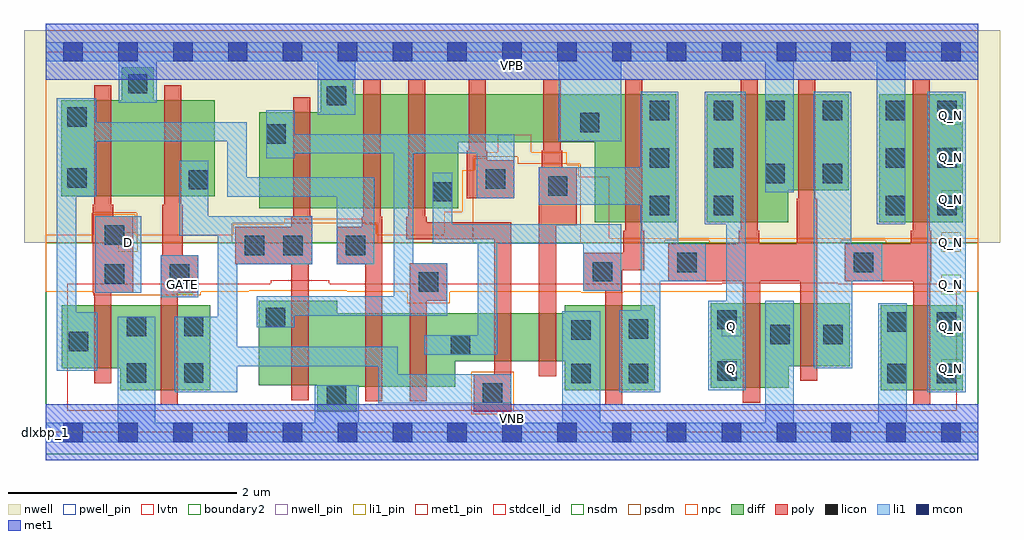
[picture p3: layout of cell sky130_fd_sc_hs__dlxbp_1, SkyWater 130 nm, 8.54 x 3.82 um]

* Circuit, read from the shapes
.subckt sky130_fd_sc_hs__dlxbp_1 D GATE Q Q_N VGND VNB VPB VPWR
XM1 VGND D n1 VNB sky130_fd_pr__nfet_01v8_lvt w=0.55 l=0.15
XM2 n2 GATE VGND VNB sky130_fd_pr__nfet_01v8_lvt w=0.74 l=0.15
XM3 VGND n2 n3 VNB sky130_fd_pr__nfet_01v8_lvt w=0.74 l=0.15
XM4 n4 n1 VGND VNB sky130_fd_pr__nfet_01v8_lvt w=0.64 l=0.15
XM5 n5 n3 n4 VNB sky130_fd_pr__nfet_01v8_lvt w=0.64 l=0.15
XM6 n6 n2 n5 VNB sky130_fd_pr__nfet_01v8_lvt w=0.42 l=0.15
XM7 VGND n7 n6 VNB sky130_fd_pr__nfet_01v8_lvt w=0.42 l=0.15
XM8 n7 n5 VGND VNB sky130_fd_pr__nfet_01v8_lvt w=0.74 l=0.15
XM9 VGND n7 Q VNB sky130_fd_pr__nfet_01v8_lvt w=0.74 l=0.15
XM10 n8 n7 VGND VNB sky130_fd_pr__nfet_01v8_lvt w=0.55 l=0.15
XM11 Q_N n8 VGND VNB sky130_fd_pr__nfet_01v8_lvt w=0.74 l=0.15
XM12 VPWR D n1 VPB sky130_fd_pr__pfet_01v8 w=0.84 l=0.15
XM13 n2 GATE VPWR VPB sky130_fd_pr__pfet_01v8 w=0.84 l=0.15
XM14 VPWR n2 n3 VPB sky130_fd_pr__pfet_01v8 w=0.84 l=0.15
XM15 n9 n1 VPWR VPB sky130_fd_pr__pfet_01v8 w=1 l=0.15
XM16 n5 n2 n9 VPB sky130_fd_pr__pfet_01v8 w=1 l=0.15
XM17 n10 n3 n5 VPB sky130_fd_pr__pfet_01v8 w=0.42 l=0.15
XM18 VPWR n7 n10 VPB sky130_fd_pr__pfet_01v8 w=0.42 l=0.15
XM19 n7 n5 VPWR VPB sky130_fd_pr__pfet_01v8 w=1.12 l=0.15
XM20 VPWR n7 Q VPB sky130_fd_pr__pfet_01v8 w=1.12 l=0.15
XM21 n8 n7 VPWR VPB sky130_fd_pr__pfet_01v8 w=0.84 l=0.15
XM22 Q_N n8 VPWR VPB sky130_fd_pr__pfet_01v8 w=1.12 l=0.15
.ends

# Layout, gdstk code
import gdstk
lib = gdstk.Library(unit=1e-6, precision=1e-09)
def R(c, l, rs):  # rectangles x0, y0, x1, y1
    for r in rs: c.add(gdstk.rectangle(r[:2], r[2:], *l))
def A(c, l, x, y, w, h, nx, ny, dx, dy):  # array of equal rectangles
    R(c, l, [(x+i*dx, y+j*dy, x+i*dx+w, y+j*dy+h) for i in range(nx) for j in range(ny)])
def P(c, l, *ps):  # polygons
    for p in ps: c.add(gdstk.Polygon(p, *l))
nwell_pin = (64, 16)
nwell = (64, 20)
diff = (65, 20)
poly = (66, 20)
licon = (66, 44)
li1_pin = (67, 16)
li1 = (67, 20)
mcon = (67, 44)
met1_pin = (68, 16)
met1 = (68, 20)
stdcell_id = (81, 4)
nsdm = (93, 44)
psdm = (94, 20)
npc = (95, 20)
pwell_pin = (122, 16)
lvtn = (125, 44)
boundary2 = (236, 0)

sky130_fd_sc_hs__dlxbp_1 = lib.new_cell('sky130_fd_sc_hs__dlxbp_1')
R(sky130_fd_sc_hs__dlxbp_1, nwell_pin, [(0,3.085,8.16,3.33)])
R(sky130_fd_sc_hs__dlxbp_1, nwell, [(-0.19,1.66,8.35,3.52)])
R(sky130_fd_sc_hs__dlxbp_1, diff, [(7.305,0.37,8.025,1.11), (7.295,1.84,8.025,2.96)])
P(sky130_fd_sc_hs__dlxbp_1, diff, [(1.44,1.11),(0.14,1.11),(0.14,0.56),(0.65,0.56),(0.65,0.37),(1.44,0.37)],
  [(1.48,2.905),(0.945,2.905),(0.945,3.195),(0.665,3.195),(0.665,2.905),(0.135,2.905),(0.135,2.065),(1.48,2.065)],
  [(5.33,1.11),(4.54,1.11),(4.54,1.04),(2.55,1.04),(2.55,1.15),(1.865,1.15),(1.865,0.41),(2.375,0.41),(2.375,0.18),(2.72,0.18),(2.72,0.4),(3.585,0.4),(3.585,0.62),(4.54,0.62),(4.54,0.37),(5.33,0.37)],
  [(5.515,2.96),(2.69,2.96),(2.69,3.09),(2.405,3.09),(2.405,2.8),(1.87,2.8),(1.87,1.96),(3.61,1.96),(3.61,2.54),(4.805,2.54),(4.805,1.84),(5.515,1.84)],
  [(7.025,2.96),(5.785,2.96),(5.785,1.84),(6.495,1.84),(6.495,2.12),(7.025,2.12)],
  [(7.035,1.13),(5.82,1.13),(5.82,0.39),(6.5,0.39),(6.5,0.58),(7.035,0.58)])
P(sky130_fd_sc_hs__dlxbp_1, poly, [(7.75,1.765),(7.735,1.765),(7.735,3.09),(7.585,3.09),(7.585,1.765),(7.57,1.765),(7.57,1.65),(6.99,1.65),(6.99,1.32),(7.59,1.32),(7.59,0.24),(7.74,0.24),(7.74,1.32),(7.75,1.32)],
  [(6.75,2.045),(6.735,2.045),(6.735,3.09),(6.585,3.09),(6.585,2.045),(6.57,2.045),(6.57,1.65),(6.245,1.65),(6.245,1.765),(6.23,1.765),(6.23,3.09),(6.08,3.09),(6.08,1.765),(6.065,1.765),(6.065,1.65),(5.445,1.65),(5.445,1.32),(6.1,1.32),(6.1,0.26),(6.25,0.26),(6.25,1.32),(6.6,1.32),(6.6,0.45),(6.75,0.45)],
  [(5.235,1.765),(5.22,1.765),(5.22,3.09),(5.07,3.09),(5.07,1.765),(5.055,1.765),(5.055,1.57),(4.705,1.57),(4.705,1.24),(4.895,1.24),(4.895,0.24),(5.045,0.24),(5.045,1.42),(5.235,1.42)],
  [(4.645,2.32),(4.52,2.32),(4.52,2.465),(4.505,2.465),(4.505,3.09),(4.355,3.09),(4.355,2.465),(4.34,2.465),(4.34,2.32),(4.315,2.32),(4.315,0.49),(4.465,0.49),(4.465,1.81),(4.645,1.81)],
  [(4.1,2.38),(3.865,2.38),(3.865,2.465),(3.85,2.465),(3.85,3.09),(3.7,3.09),(3.7,2.465),(3.685,2.465),(3.685,2.05),(4.1,2.05)],
  [(4.075,1.84),(3.335,1.84),(3.335,1.885),(3.32,1.885),(3.32,3.09),(3.17,3.09),(3.17,1.885),(3.155,1.885),(3.155,1.69),(3.925,1.69),(3.925,0.51),(3.745,0.51),(3.745,0.18),(4.075,0.18)],
  [(3.515,1.48),(3.185,1.48),(3.185,0.27),(3.335,0.27),(3.335,1.15),(3.515,1.15)],
  [(2.945,1.885),(2.93,1.885),(2.93,3.09),(2.78,3.09),(2.78,1.885),(2.765,1.885),(2.765,1.8),(2.545,1.8),(2.545,1.47),(2.795,1.47),(2.795,0.27),(2.945,0.27)],
  [(2.33,1.885),(2.315,1.885),(2.315,2.93),(2.165,2.93),(2.165,1.885),(2.15,1.885),(2.15,1.8),(1.66,1.8),(1.66,1.47),(2.15,1.47),(2.15,0.28),(2.3,0.28),(2.3,1.47),(2.33,1.47)],
  [(1.335,1.55),(1.2,1.55),(1.2,1.99),(1.185,1.99),(1.185,3.035),(1.035,3.035),(1.035,1.99),(1.02,1.99),(1.02,1.55),(1.005,1.55),(1.005,0.24),(1.155,0.24),(1.155,1.22),(1.335,1.22)],
  [(0.765,1.89),(0.59,1.89),(0.59,1.99),(0.575,1.99),(0.575,3.035),(0.425,3.035),(0.425,1.99),(0.41,1.99),(0.41,1.22),(0.425,1.22),(0.425,0.43),(0.575,0.43),(0.575,1.22),(0.765,1.22)])
A(sky130_fd_sc_hs__dlxbp_1, licon, 5.285, 1.9, 0.17, 0.17, 1, 3, 0, 0.415)
A(sky130_fd_sc_hs__dlxbp_1, licon, 5.845, 1.9, 0.17, 0.17, 1, 3, 0, 0.415)
A(sky130_fd_sc_hs__dlxbp_1, licon, 7.35, 1.9, 0.17, 0.17, 1, 3, 0, 0.415)
A(sky130_fd_sc_hs__dlxbp_1, licon, 7.8, 1.9, 0.17, 0.17, 1, 3, 0, 0.415)
R(sky130_fd_sc_hs__dlxbp_1, licon, [(2.46,0.24,2.63,0.41), (3.825,0.26,3.995,0.43), (4.6,0.43,4.77,0.6), (5.1,0.43,5.27,0.6), (7.365,0.43,7.535,0.6), (7.795,0.43,7.965,0.6), (0.71,0.435,0.88,0.605), (1.21,0.435,1.38,0.605), (5.875,0.45,6.045,0.62), (3.545,0.68,3.715,0.85), (0.2,0.71,0.37,0.88), (6.34,0.77,6.51,0.94), (6.805,0.77,6.975,0.94), (4.6,0.81,4.77,0.98), (5.1,0.82,5.27,0.99), (0.71,0.84,0.88,1.01), (1.21,0.84,1.38,1.01), (7.365,0.88,7.535,1.05), (7.795,0.88,7.965,1.05), (5.875,0.9,6.045,1.07), (1.925,0.92,2.095,1.09), (3.265,1.23,3.435,1.4), (0.515,1.3,0.685,1.47), (1.085,1.3,1.255,1.47), (4.785,1.32,4.955,1.49), (5.525,1.4,5.695,1.57), (7.07,1.4,7.24,1.57), (1.74,1.55,1.91,1.72), (2.08,1.55,2.25,1.72), (2.625,1.55,2.795,1.72), (0.515,1.64,0.685,1.81), (3.385,2.02,3.555,2.19), (4.395,2.07,4.565,2.24), (1.25,2.125,1.42,2.295), (3.85,2.13,4.02,2.3), (0.19,2.14,0.36,2.31), (6.295,2.18,6.465,2.35), (6.8,2.18,6.97,2.35), (1.93,2.525,2.1,2.695), (4.675,2.625,4.845,2.795), (0.19,2.675,0.36,2.845), (6.295,2.73,6.465,2.9), (6.8,2.73,6.97,2.9), (2.46,2.86,2.63,3.03), (0.72,2.965,0.89,3.135)])
A(sky130_fd_sc_hs__dlxbp_1, li1_pin, 7.835, 0.47, 0.17, 0.17, 1, 7, 0, 0.37)
R(sky130_fd_sc_hs__dlxbp_1, li1_pin, [(5.915,0.47,6.085,0.64), (5.915,0.84,6.085,1.01), (1.115,1.21,1.285,1.38), (0.635,1.58,0.805,1.75)])
R(sky130_fd_sc_hs__dlxbp_1, li1, [(7.715,0.35,8.05,2.98), (1.005,1.18,1.335,1.55), (0.435,1.22,0.835,1.89)])
P(sky130_fd_sc_hs__dlxbp_1, li1, [(0,-0.085),(0,0.085),(0.63,0.085),(0.63,1.01),(0.96,1.01),(0.96,0.085),(2.355,0.085),(2.355,0.41),(2.74,0.41),(2.74,0.085),(4.52,0.085),(4.52,1.06),(4.85,1.06),(4.85,0.085),(6.295,0.085),(6.295,1.15),(6.545,1.15),(6.545,0.085),(7.285,0.085),(7.285,1.13),(7.535,1.13),(7.535,0.085),(8.16,0.085),(8.16,-0.085)],
  [(0,3.245),(0,3.415),(8.16,3.415),(8.16,3.245),(7.52,3.245),(7.52,1.82),(7.27,1.82),(7.27,3.245),(6.545,3.245),(6.545,2.1),(6.295,2.1),(6.295,3.245),(5.035,3.245),(5.035,2.545),(4.49,2.545),(4.49,3.245),(2.71,3.245),(2.71,2.78),(2.38,2.78),(2.38,3.245),(0.97,3.245),(0.97,2.885),(0.64,2.885),(0.64,3.245)],
  [(5.795,0.37),(5.795,1.15),(5.955,1.15),(5.955,1.82),(5.765,1.82),(5.765,2.98),(6.125,2.98),(6.125,0.37)],
  [(3.385,1.65),(3.385,2.27),(3.555,2.27),(3.555,1.82),(5.035,1.82),(5.035,1.24),(4.705,1.24),(4.705,1.65),(3.95,1.65),(3.95,0.68),(3.31,0.68),(3.31,0.85),(3.78,0.85),(3.78,1.65)],
  [(7.05,1.65),(7.32,1.65),(7.32,1.32),(7.055,1.32),(7.055,0.56),(6.72,0.56),(6.72,2.98),(7.05,2.98)],
  [(4.315,1.99),(4.315,2.32),(5.205,2.32),(5.205,2.98),(5.535,2.98),(5.535,1.65),(5.775,1.65),(5.775,1.32),(5.375,1.32),(5.375,0.35),(5.02,0.35),(5.02,1.07),(5.205,1.07),(5.205,1.99)],
  [(2.875,2.23),(1.76,2.23),(1.76,2.715),(0.44,2.715),(0.44,2.925),(0.095,2.925),(0.095,0.54),(0.45,0.54),(0.45,1.05),(0.265,1.05),(0.265,2.06),(0.44,2.06),(0.44,2.545),(1.59,2.545),(1.59,2.06),(2.545,2.06),(2.545,1.47),(2.875,1.47)],
  [(1.42,1.89),(2.33,1.89),(2.33,1.47),(1.675,1.47),(1.675,0.75),(3.08,0.75),(3.08,0.51),(4.075,0.51),(4.075,0.255),(2.91,0.255),(2.91,0.58),(1.675,0.58),(1.675,0.35),(1.13,0.35),(1.13,1.01),(1.505,1.01),(1.505,1.72),(1.17,1.72),(1.17,2.375),(1.42,2.375)],
  [(3.215,2.44),(3.215,1.48),(3.515,1.48),(3.515,1.02),(2.175,1.02),(2.175,0.92),(1.845,0.92),(1.845,1.19),(3.045,1.19),(3.045,2.44),(2.18,2.44),(2.18,2.4),(1.93,2.4),(1.93,2.82),(2.18,2.82),(2.18,2.61),(4.1,2.61),(4.1,2.05),(3.77,2.05),(3.77,2.44)])
A(sky130_fd_sc_hs__dlxbp_1, mcon, 0.155, -0.085, 0.17, 0.17, 17, 2, 0.48, 3.33)
R(sky130_fd_sc_hs__dlxbp_1, met1_pin, [(0,0,8.16,0.245), (0,3.085,8.16,3.33)])
R(sky130_fd_sc_hs__dlxbp_1, met1, [(0,-0.245,8.16,0.245), (0,3.085,8.16,3.575)])
R(sky130_fd_sc_hs__dlxbp_1, stdcell_id, [(0,0,8.16,3.33)])
R(sky130_fd_sc_hs__dlxbp_1, nsdm, [(0,-0.19,8.16,1.66)])
P(sky130_fd_sc_hs__dlxbp_1, psdm, [(8.16,3.52),(0,3.52),(0,1.66),(0.405,1.66),(0.405,1.92),(0.795,1.92),(0.795,1.66),(1.63,1.66),(1.63,1.83),(2.905,1.83),(2.905,1.66),(3.74,1.66),(3.74,2.41),(4.13,2.41),(4.13,2.35),(4.675,2.35),(4.675,1.66),(5.415,1.66),(5.415,1.68),(5.805,1.68),(5.805,1.66),(6.96,1.66),(6.96,1.68),(7.35,1.68),(7.35,1.66),(8.16,1.66)])
R(sky130_fd_sc_hs__dlxbp_1, npc, [(3.725,0.16,4.095,0.53)])
P(sky130_fd_sc_hs__dlxbp_1, npc, [(8.16,1.7),(4.93,1.7),(4.93,2.235),(4.665,2.235),(4.665,2.34),(4.56,2.34),(4.56,2.45),(4.25,2.45),(4.25,2.605),(3.955,2.605),(3.955,2.45),(3.855,2.45),(3.855,2.4),(3.75,2.4),(3.75,2.295),(3.645,2.295),(3.645,1.93),(3.485,1.93),(3.485,1.73),(2.895,1.73),(2.895,1.82),(2.79,1.82),(2.79,1.87),(2.085,1.87),(2.085,1.82),(1.64,1.82),(1.64,1.73),(0.785,1.73),(0.785,1.91),(0.415,1.91),(0.415,1.73),(0,1.73),(0,1.23),(0.415,1.23),(0.415,1.2),(1.355,1.2),(1.355,1.23),(1.775,1.23),(1.775,1.24),(2.64,1.24),(2.64,1.23),(3.165,1.23),(3.165,1.13),(3.535,1.13),(3.535,1.23),(4.685,1.23),(4.685,1.22),(5.055,1.22),(5.055,1.23),(8.16,1.23)])
R(sky130_fd_sc_hs__dlxbp_1, pwell_pin, [(0,0,8.16,0.245)])
P(sky130_fd_sc_hs__dlxbp_1, lvtn, [(7.97,1.3),(6.93,1.3),(6.93,1.31),(5.92,1.31),(5.92,1.3),(2.48,1.3),(2.48,1.33),(1.97,1.33),(1.97,1.3),(0.19,1.3),(0.19,0.19),(7.97,0.19)])
R(sky130_fd_sc_hs__dlxbp_1, boundary2, [(0,0,8.16,3.33)])
sky130_fd_sc_hs__dlxbp_1.add(gdstk.Label('dlxbp_1', (0,0), layer=83, texttype=44))
sky130_fd_sc_hs__dlxbp_1.add(gdstk.Label('VNB', (4.08,0.123), layer=64, texttype=59))
sky130_fd_sc_hs__dlxbp_1.add(gdstk.Label('VPB', (4.08,3.208), layer=64, texttype=5))
sky130_fd_sc_hs__dlxbp_1.add(gdstk.Label('VPWR', (4.08,3.208), layer=68, texttype=5))
sky130_fd_sc_hs__dlxbp_1.add(gdstk.Label('VGND', (4.08,0.123), layer=68, texttype=5))
sky130_fd_sc_hs__dlxbp_1.add(gdstk.Label('Q_N', (7.92,0.555), layer=67, texttype=5))
sky130_fd_sc_hs__dlxbp_1.add(gdstk.Label('Q_N', (7.92,0.925), layer=67, texttype=5))
sky130_fd_sc_hs__dlxbp_1.add(gdstk.Label('Q_N', (7.92,1.295), layer=67, texttype=5))
sky130_fd_sc_hs__dlxbp_1.add(gdstk.Label('Q_N', (7.92,1.665), layer=67, texttype=5))
sky130_fd_sc_hs__dlxbp_1.add(gdstk.Label('Q_N', (7.92,2.035), layer=67, texttype=5))
sky130_fd_sc_hs__dlxbp_1.add(gdstk.Label('Q_N', (7.92,2.405), layer=67, texttype=5))
sky130_fd_sc_hs__dlxbp_1.add(gdstk.Label('Q_N', (7.92,2.775), layer=67, texttype=5))
sky130_fd_sc_hs__dlxbp_1.add(gdstk.Label('Q', (6,0.555), layer=67, texttype=5))
sky130_fd_sc_hs__dlxbp_1.add(gdstk.Label('Q', (6,0.925), layer=67, texttype=5))
sky130_fd_sc_hs__dlxbp_1.add(gdstk.Label('GATE', (1.2,1.295), layer=67, texttype=5))
sky130_fd_sc_hs__dlxbp_1.add(gdstk.Label('D', (0.72,1.665), layer=67, texttype=5))

lib.write_gds('sky130_fd_sc_hs__dlxbp_1.gds')
